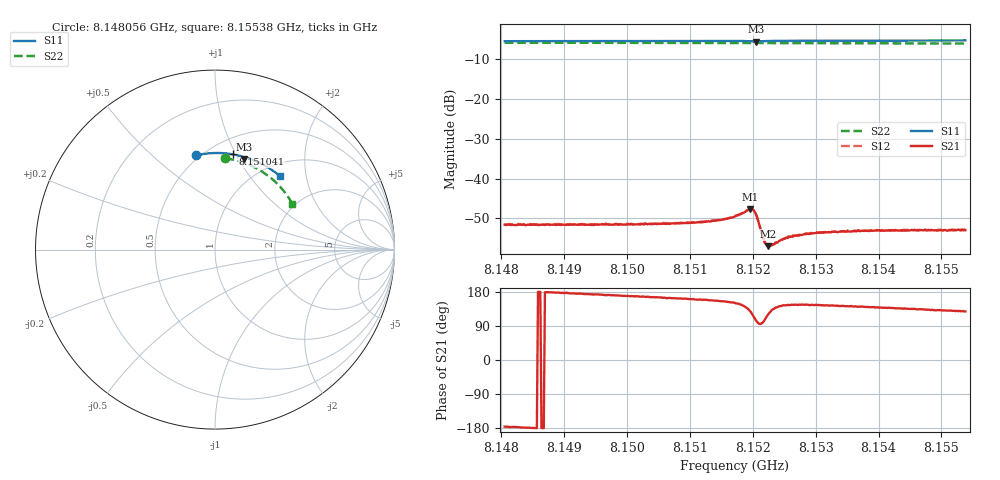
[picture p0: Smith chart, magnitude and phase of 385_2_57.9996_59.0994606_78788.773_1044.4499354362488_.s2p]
#  HZ  S  RI  R  50.00
! Rohde & Schwarz Vector Network Analyzer
! Rohde-Schwarz,ZNB20-2Port,1311601062101988,3.16
! Created: UTC 3/21/2024, 1:07:36 AM
! freq[Hz]  re:S11  im:S11  re:S21  im:S21  re:S12  im:S12  re:S22  im:S22
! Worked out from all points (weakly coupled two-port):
!   401 points, 8.148056 GHz to 8.15538 GHz, reference 50 ohm
!   highest |S21| = -47.75 dB at 8.151956 GHz (marker M1); lowest = -57.0 dB at 8.152249 GHz (marker M2)
!   lowest |S11| = -5.5 dB at 8.152048 GHz (marker M3), VSWR 3.25, Z = 37.7 + j52.7 ohm
!   |S11| at or under -10 dB: nowhere
!   |S22| runs from -6.0 to -5.8 dB; largest |S21 - S12| = 0.00012
!   S11 on the Smith chart (normalised r, x): 8.148056 GHz: 0.47, +0.70; 8.151041 GHz: 0.65, +0.97; 8.15538 GHz: 1.23, +1.43
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8.148056e9  -0.1078 0.5244  -0.00262 -0.000189  -0.00265 -0.000156  0.0578 0.509
8.1492828e9  -0.0233 0.5371  -0.00264 0.000229  -0.00266 0.000308  0.1354 0.4922
8.1505096e9  0.0622 0.5359  -0.00259 0.000684  -0.00261 0.000776  0.2093 0.464
8.1510406e9  0.099 0.5313  -0.00262 0.000914  -0.00263 0.00102  0.2394 0.4482
8.151297e9  0.117 0.5278  -0.0027 0.0011  -0.00268 0.00111  0.2535 0.44
8.1515533e9  0.1352 0.5235  -0.00279 0.00134  -0.00279 0.00137  0.2675 0.4311
8.1517181e9  0.1472 0.5198  -0.0029 0.00164  -0.00292 0.00172  0.2762 0.4252
8.1519562e9  0.1632 0.5083  -0.0026 0.00317  -0.00254 0.00325  0.2883 0.4163
8.1520111e9  0.1633 0.5045  -0.00173 0.00361  -0.00171 0.00369  0.2909 0.4142
8.1520477e9  0.1621 0.5037  -0.000962 0.00348  -0.000932 0.00351  0.2927 0.4128
8.1520843e9  0.1612 0.505  -0.0004 0.00296  -0.000338 0.00297  0.2945 0.4116
8.1521576e9  0.1643 0.5088  -0.000267 0.00183  -0.00025 0.00183  0.2981 0.409
8.1521759e9  0.1658 0.5093  -0.000352 0.00166  -0.000342 0.00165  0.2992 0.4083
8.1522125e9  0.169 0.5102  -0.000557 0.0014  -0.000545 0.00138  0.3011 0.407
8.1522491e9  0.172 0.5103  -0.000729 0.00121  -0.000721 0.00124  0.3029 0.4055
8.152304e9  0.1768 0.5101  -0.000979 0.00108  -0.000962 0.00108  0.3056 0.4033
8.1524505e9  0.1879 0.5077  -0.00134 0.00104  -0.00131 0.00105  0.313 0.3975
8.1526153e9  0.1997 0.504  -0.00155 0.00105  -0.00155 0.00106  0.3211 0.3907
8.1529449e9  0.2217 0.4958  -0.00167 0.00115  -0.00167 0.00117  0.3366 0.3768
8.1536407e9  0.2658 0.4752  -0.00168 0.00136  -0.00168 0.0014  0.3671 0.3453
8.1541717e9  0.2977 0.4566  -0.00165 0.0015  -0.00161 0.0015  0.3886 0.3197
8.1553802e9  0.3646 0.4075  -0.00138 0.00176  -0.00141 0.0018  0.4303 0.2568
